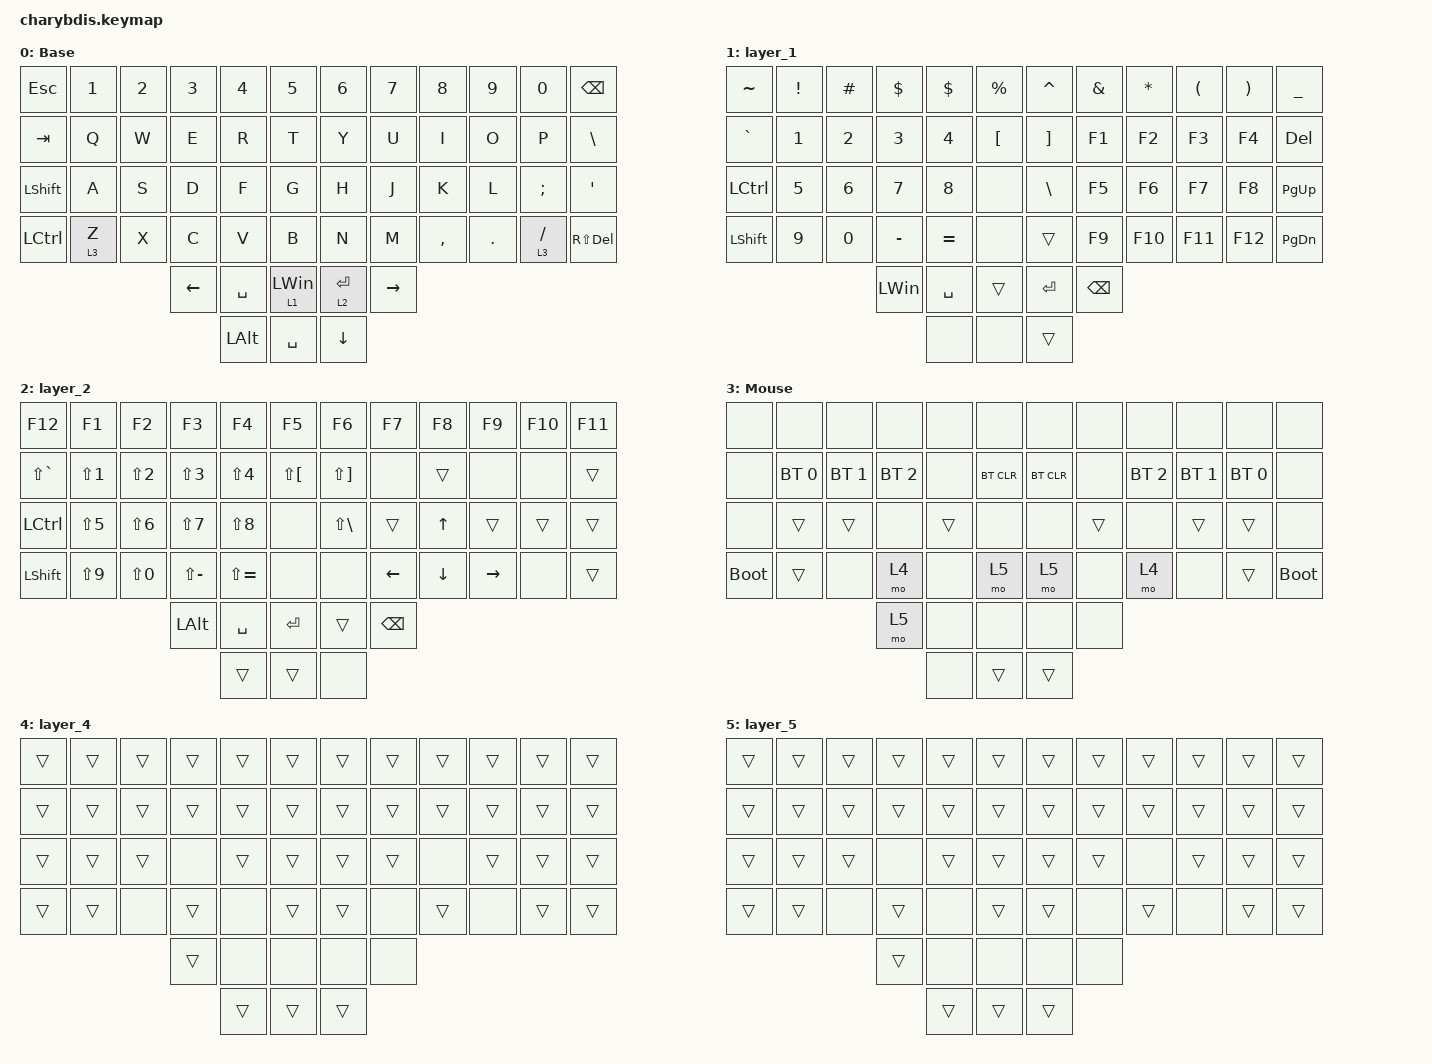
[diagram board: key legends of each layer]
#include <behaviors.dtsi>
#include <dt-bindings/zmk/bt.h>
#include <dt-bindings/zmk/keys.h>

// 마우스 헤더(#include <dt-bindings/zmk/mouse.h>) 삭제 완료

&lt {
    tapping-term-ms = <200>;
    flavor = "balanced";
    quick-tap-ms = <150>;
};

/ {
    combos {
        compatible = "zmk,combos";

        escc {
            bindings = <&kp ESC>;
            key-positions = <17 18>;
            layers = <0>;
        };
    };

    keymap {
        compatible = "zmk,keymap";

        Base {
            bindings = <
&kp ESC         &kp N1   &kp N2  &kp N3          &kp N4        &kp N5             &kp N6          &kp N7            &kp N8     &kp N9   &kp N0       &kp BSPC
&kp TAB         &kp Q    &kp W   &kp E           &kp R         &kp T              &kp Y           &kp U             &kp I      &kp O    &kp P        &kp BACKSLASH
&kp LEFT_SHIFT  &kp A    &kp S   &kp D           &kp F         &kp G              &kp H           &kp J             &kp K      &kp L    &kp SEMI     &kp APOS
&kp LCTRL       &lt 3 Z  &kp X   &kp C           &kp V         &kp B              &kp N           &kp M             &kp COMMA  &kp DOT  &lt 3 SLASH  &kp RS(DELETE)
                                 &kp LEFT_ARROW  &kp SPACE     &lt 1 LEFT_WIN     &lt 2 ENTER     &kp RIGHT_ARROW
                                                 &kp LEFT_ALT  &kp SPACE          &kp DOWN_ARROW
            >;
            // 트랙볼 바인딩 삭제됨
        };

        layer_1 {
            bindings = <
&kp TILDE         &kp EXCLAMATION  &kp HASH      &kp DOLLAR    &kp DOLLAR    &kp PERCENT  &kp CARET  &kp AMPERSAND  &kp ASTERISK  &kp LEFT_PARENTHESIS  &kp RIGHT_PARENTHESIS  &kp UNDERSCORE
&kp GRAVE         &kp NUMBER_1     &kp NUMBER_2  &kp NUMBER_3  &kp NUMBER_4  &kp LBKT     &kp RBKT   &kp F1         &kp F2        &kp F3                &kp F4                 &kp DEL
&kp LEFT_CONTROL  &kp NUMBER_5     &kp NUMBER_6  &kp NUMBER_7  &kp NUMBER_8  &none        &kp BSLH   &kp F5         &kp F6        &kp F7                &kp F8                 &kp PAGE_UP
&kp LSHFT         &kp NUMBER_9     &kp NUMBER_0  &kp MINUS     &kp EQUAL     &none        &trans     &kp F9         &kp F10       &kp F11               &kp F12                &kp PAGE_DOWN
                                                 &kp LEFT_WIN  &kp SPACE     &trans       &kp ENTER  &kp BACKSPACE
                                                 &none         &none         &trans
            >;
        };

        layer_2 {
            bindings = <
&kp F12           &kp F1      &kp F2      &kp F3         &kp F4         &kp F5        &kp F6        &kp F7  &kp F8  &kp F9     &kp F10  &kp F11
&kp LS(GRAVE)     &kp LS(N1)  &kp LS(N2)  &kp LS(N3)     &kp LS(N4)     &kp LS(LBKT)  &kp LS(RBKT)  &none   &trans  &none      &none    &trans
&kp LEFT_CONTROL  &kp LS(N5)  &kp LS(N6)  &kp LS(N7)     &kp LS(N8)     &none         &kp LS(BSLH)  &trans  &kp UP  &trans     &trans   &trans
&kp LEFT_SHIFT    &kp LS(N9)  &kp LS(N0)  &kp LS(MINUS)  &kp LS(EQUAL)  &none         &none         &kp LEFT &kp DOWN &kp RIGHT &none    &trans
                                          &kp LEFT_ALT   &kp SPACE      &kp ENTER     &trans        &kp BACKSPACE
                                          &trans         &trans         &none
            >;
        };

        Mouse {
            bindings = <
&none        &none         &none         &none         &none      &none         &none         &none         &none         &none         &none         &none
&none        &bt BT_SEL 0  &bt BT_SEL 1  &bt BT_SEL 2  &none      &bt BT_CLR    &bt BT_CLR    &none         &bt BT_SEL 2  &bt BT_SEL 1  &bt BT_SEL 0  &none
&none        &trans        &trans        &none         &trans     &none         &none         &trans        &none         &trans        &trans        &none
&bootloader  &trans        &none         &mo 4         &none      &mo 5         &mo 5         &none         &mo 4         &none         &trans        &bootloader
                                         &mo 5         &none      &none         &none         &none
                                         &none         &trans     &trans
            >;
            // &mkp(마우스 클릭) 키들을 모두 &none으로 교체함
        };

        layer_4 {
            bindings = <
&trans  &trans  &trans  &trans  &trans  &trans  &trans  &trans  &trans  &trans  &trans  &trans
&trans  &trans  &trans  &trans  &trans  &trans  &trans  &trans  &trans  &trans  &trans  &trans
&trans  &trans  &trans  &none   &trans  &trans  &trans  &trans  &none   &trans  &trans  &trans
&trans  &trans  &none   &trans  &none   &trans  &trans  &none   &trans  &none   &trans  &trans
                        &trans  &none   &none   &none   &none
                        &trans  &trans  &trans
            >;
            // 트랙볼 바인딩 및 마우스 클릭 삭제됨
        };

        layer_5 {
            bindings = <
&trans  &trans  &trans  &trans  &trans  &trans  &trans  &trans  &trans  &trans  &trans  &trans
&trans  &trans  &trans  &trans  &trans  &trans  &trans  &trans  &trans  &trans  &trans  &trans
&trans  &trans  &trans  &none   &trans  &trans  &trans  &trans  &none   &trans  &trans  &trans
&trans  &trans  &none   &trans  &none   &trans  &trans  &none   &trans  &none   &trans  &trans
                        &trans  &none   &none   &none   &none
                        &trans  &trans  &trans
            >;
             // 트랙볼 바인딩 및 마우스 클릭 삭제됨
        };
    };
};
